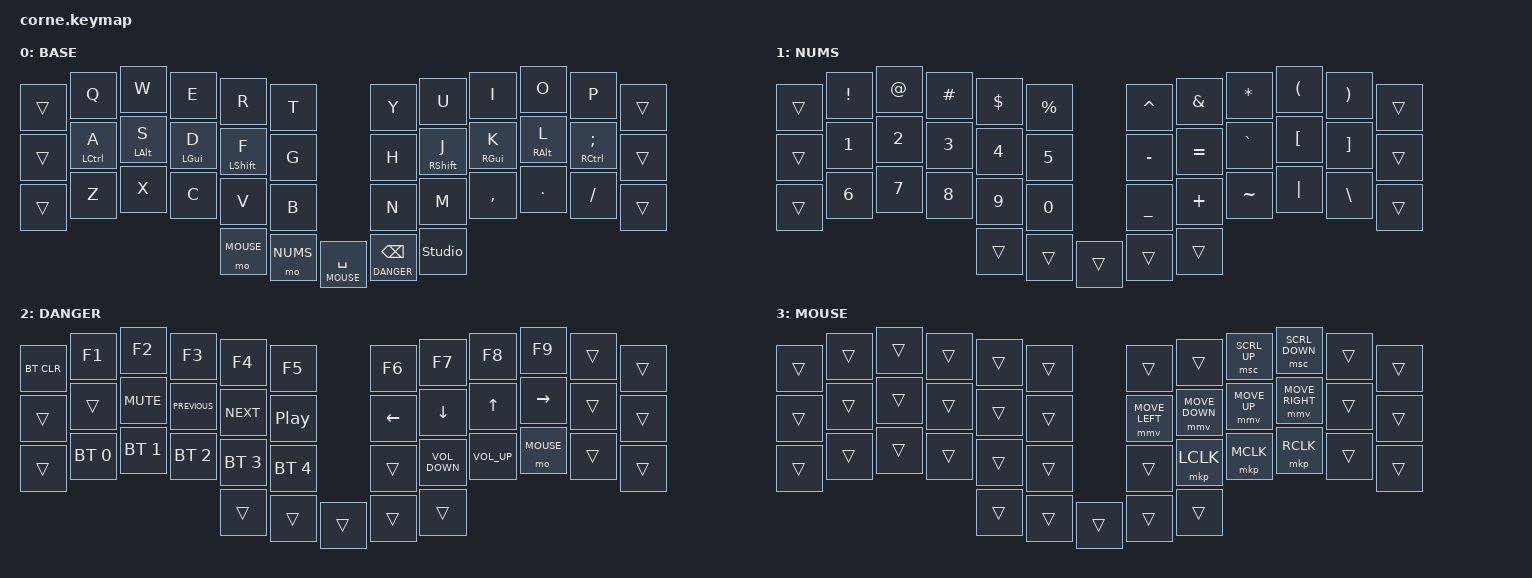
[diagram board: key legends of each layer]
#include "zmk-helpers/helper.h"
#include "zmk-helpers/key-labels/42.h"

#include <behaviors.dtsi>
#include <dt-bindings/zmk/bt.h>
#include <dt-bindings/zmk/keys.h>
#include <dt-bindings/zmk/pointing.h>

#include "shared/layers.h"

#define KEYS_L LT0 LT1 LT2 LT3 LT4 LM0 LM1 LM2 LM3 LM4 LB0 LB1 LB2 LB3 LB4  // left-hand keys
#define KEYS_R RT0 RT1 RT2 RT3 RT4 RM0 RM1 RM2 RM3 RM4 RB0 RB1 RB2 RB3 RB4  // right-hand keys
#define KEYS_T LH2 LH1 LH0 RH0 RH1 RH2                                      // thumb keys

#include "shared/behaviors.dtsi"
#include "shared/combos.dtsi"

// Board-specific combos
/ {
    combos {
        bt_clr {
            timeout-ms = <COMBO_TERM_FAST>;
            require-prior-idle-ms = <COMBO_PRIOR_IDLE>;
            key-positions = <LT0 RT0>;
            bindings = <&bt BT_CLR>;
            layers = <NUMS>;
        };

        combo_layer_three_four {
            timeout-ms = <COMBO_TERM_FAST>;
            require-prior-idle-ms = <COMBO_PRIOR_IDLE>;
            key-positions = <LB2 LB0>;
            bindings = <&mo DANGER>;
            layers = <NUMS>;
        };
    };

    keymap {
        compatible = "zmk,keymap";

        default_layer {
            display-name = "BASE";
            bindings = <
&trans  &kp Q                &kp W            &kp E                &kp R              &kp T        &kp Y       &kp U              &kp I                 &kp O        &kp P             &trans
&trans  &hm_l LCTRL A        &hm_l LALT S     &hm_l LGUI D         &hm_l LSHFT F      &kp G        &kp H       &hm_r RSHFT J      &hm_r RGUI K          &hm_r RALT L &hm_r RCTRL SEMI  &trans
&trans  &kp Z                &kp X            &kp C                &kp V              &kp B        &kp N       &kp M              &kp COMMA             &kp DOT      &kp FSLH          &trans
                                              &mo MOUSE            &mo NUMS           &kp ENTER    &lt MOUSE SPACE &lt DANGER BACKSPACE    &studio_unlock
            >;
        };

        raise_layer {
            display-name = "NUMS";
            bindings = <
&trans  &kp EXCL      &kp AT        &kp HASH      &kp DLLR      &kp PRCNT       &kp CARET  &kp AMPS   &kp ASTRK  &kp LPAR          &kp RPAR           &trans
&trans  &kp NUMBER_1  &kp NUMBER_2  &kp NUMBER_3  &kp NUMBER_4  &kp NUMBER_5    &kp MINUS  &kp EQUAL  &kp GRAVE  &kp LEFT_BRACKET  &kp RIGHT_BRACKET  &trans
&trans  &kp NUMBER_6  &kp NUMBER_7  &kp NUMBER_8  &kp N9        &kp NUMBER_0    &kp UNDER  &kp PLUS   &kp TILDE  &kp PIPE          &kp BACKSLASH      &trans
                                    &trans        &trans        &trans          &trans     &trans     &trans
            >;
        };

        lower_layer {
            display-name = "DANGER";
            bindings = <
&bt BT_CLR  &kp F1        &kp F2        &kp F3          &kp F4        &kp F5              &kp F6    &kp F7             &kp F8           &kp F9     &trans  &trans
&trans      &trans        &kp C_MUTE    &kp C_PREVIOUS  &kp C_NEXT    &kp C_PLAY_PAUSE    &kp LEFT  &kp DOWN           &kp UP           &kp RIGHT  &trans  &trans
&trans      &bt BT_SEL 0  &bt BT_SEL 1  &bt BT_SEL 2    &bt BT_SEL 3  &bt BT_SEL 4        &trans    &kp C_VOLUME_DOWN  &kp C_VOLUME_UP  &mo MOUSE  &trans  &trans
                                        &trans          &trans        &trans              &trans    &trans             &trans
            >;
        };

        mouse_layer {
            display-name = "MOUSE";
            bindings = <
&trans  &trans  &trans &trans  &trans  &trans      &trans         &trans         &msc SCRL_UP  &msc SCRL_DOWN  &trans  &trans
&trans  &trans  &trans &trans  &trans  &trans      &mmv MOVE_LEFT &mmv MOVE_DOWN &mmv MOVE_UP  &mmv MOVE_RIGHT &trans  &trans
&trans  &trans  &trans &trans  &trans  &trans      &trans         &mkp LCLK      &mkp MCLK     &mkp RCLK       &trans  &trans
                       &trans  &trans  &trans      &trans         &trans         &trans
            >;
        };
    };
};

// needed for petes corne
// &nice_view_spi { cs-gpios = <&pro_micro 0 GPIO_ACTIVE_HIGH>; };
